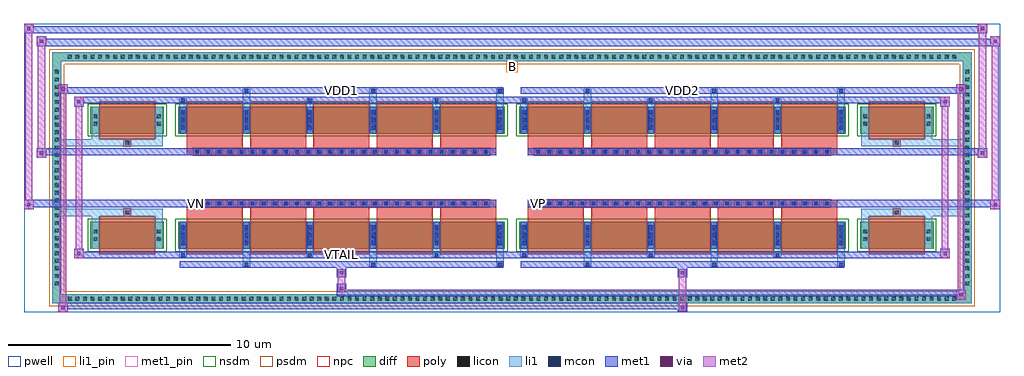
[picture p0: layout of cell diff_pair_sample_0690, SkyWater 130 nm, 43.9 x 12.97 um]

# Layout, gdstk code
import gdstk
lib = gdstk.Library(unit=1e-6, precision=5e-09)
def R(c, l, rs):  # rectangles x0, y0, x1, y1
    for r in rs: c.add(gdstk.rectangle(r[:2], r[2:], *l))
def A(c, l, x, y, w, h, nx, ny, dx, dy):  # array of equal rectangles
    R(c, l, [(x+i*dx, y+j*dy, x+i*dx+w, y+j*dy+h) for i in range(nx) for j in range(ny)])
def P(c, l, *ps):  # polygons
    for p in ps: c.add(gdstk.Polygon(p, *l))
pwell = (64, 44)
diff = (65, 20)
poly = (66, 20)
licon = (66, 44)
li1_pin = (67, 16)
li1 = (67, 20)
mcon = (67, 44)
met1_pin = (68, 16)
met1 = (68, 20)
via = (68, 44)
met2 = (69, 20)
nsdm = (93, 44)
psdm = (94, 20)
npc = (95, 20)

diff_pair_sample_0690 = lib.new_cell('diff_pair_sample_0690')
R(diff_pair_sample_0690, pwell, [(-21.95,-6.05,21.95,6.92), (-19.27,-4.24,-0.01,-0.8), (0.01,-4.24,19.27,-0.8), (-19.27,0.8,-0.01,4.24), (0.01,0.8,19.27,4.24)])
A(diff_pair_sample_0690, diff, -20.095, -5.65, 0.41, 0.41, 118, 2, 0.34, 10.89)
A(diff_pair_sample_0690, diff, -20.68, -4.965, 0.41, 0.41, 1, 29, 0, 0.34)
A(diff_pair_sample_0690, diff, 20.27, -4.965, 0.41, 0.41, 1, 29, 0, 0.34)
R(diff_pair_sample_0690, diff, [(-20.095,-5.65,20.095,-5.24), (-20.68,-4.965,-20.27,4.965), (20.27,-4.965,20.68,4.965), (-18.96,-3.195,-15.66,-1.985), (-15.02,-3.195,-0.32,-1.985), (0.32,-3.195,15.02,-1.985), (15.66,-3.195,18.96,-1.985), (-18.96,1.985,-15.66,3.195), (-15.02,1.985,-0.32,3.195), (0.32,1.985,15.02,3.195), (15.66,1.985,18.96,3.195), (-20.095,5.24,20.095,5.65)])
P(diff_pair_sample_0690, diff, [(20.68,5.65),(-20.68,5.65),(-20.68,-5.24),(-20.27,-5.24),(-20.27,5.24),(20.27,5.24),(20.27,-5.24),(-20.27,-5.24),(-20.68,-5.24),(-20.68,-5.65),(20.68,-5.65)])
A(diff_pair_sample_0690, poly, -14.63, -3.445, 2.52, 1.71, 5, 2, 2.85, 5.18)
A(diff_pair_sample_0690, poly, 0.71, -3.445, 2.52, 1.71, 5, 2, 2.85, 5.18)
A(diff_pair_sample_0690, poly, -14.63, -1.735, 2.52, 0.405, 5, 2, 2.85, 3.065)
A(diff_pair_sample_0690, poly, 0.71, -1.735, 2.52, 0.405, 5, 2, 2.85, 3.065)
A(diff_pair_sample_0690, poly, -14.335, -1.33, 0.33, 0.33, 27, 2, 0.5, 2.33)
A(diff_pair_sample_0690, poly, 1.005, -1.33, 0.33, 0.33, 27, 2, 0.5, 2.33)
R(diff_pair_sample_0690, poly, [(-18.57,-3.445,-16.05,-1.735), (16.05,-3.445,18.57,-1.735), (-17.475,-1.735,-17.145,-1.405), (-17.475,-1.735,-17.145,-1.405), (17.145,-1.735,17.475,-1.405), (17.145,-1.735,17.475,-1.405), (-14.63,-1.33,-0.71,-1), (0.71,-1.33,14.63,-1), (-14.63,1,-0.71,1.33), (0.71,1,14.63,1.33), (-17.475,1.405,-17.145,1.735), (-17.475,1.405,-17.145,1.735), (17.145,1.405,17.475,1.735), (17.145,1.405,17.475,1.735), (-18.57,1.735,-16.05,3.445), (16.05,1.735,18.57,3.445)])
A(diff_pair_sample_0690, licon, -19.975, -5.53, 0.17, 0.17, 118, 2, 0.34, 10.89)
A(diff_pair_sample_0690, licon, -20.56, -4.845, 0.17, 0.17, 1, 29, 0, 0.34)
A(diff_pair_sample_0690, licon, 20.39, -4.845, 0.17, 0.17, 1, 29, 0, 0.34)
A(diff_pair_sample_0690, licon, -14.88, -2.845, 0.17, 0.17, 6, 2, 2.85, 0.34)
A(diff_pair_sample_0690, licon, 0.46, -2.845, 0.17, 0.17, 6, 2, 2.85, 0.34)
A(diff_pair_sample_0690, licon, -14.255, -1.25, 0.17, 0.17, 27, 2, 0.5, 2.33)
A(diff_pair_sample_0690, licon, 1.085, -1.25, 0.17, 0.17, 27, 2, 0.5, 2.33)
A(diff_pair_sample_0690, licon, -14.88, 2.335, 0.17, 0.17, 6, 2, 2.85, 0.34)
A(diff_pair_sample_0690, licon, 0.46, 2.335, 0.17, 0.17, 6, 2, 2.85, 0.34)
R(diff_pair_sample_0690, licon, [(-18.82,-2.845,-18.65,-2.675), (-15.97,-2.845,-15.8,-2.675), (15.8,-2.845,15.97,-2.675), (18.65,-2.845,18.82,-2.675), (-18.82,-2.505,-18.65,-2.335), (-15.97,-2.505,-15.8,-2.335), (15.8,-2.505,15.97,-2.335), (18.65,-2.505,18.82,-2.335), (-17.395,-1.655,-17.225,-1.485), (17.225,-1.655,17.395,-1.485), (-17.395,1.485,-17.225,1.655), (17.225,1.485,17.395,1.655), (-18.82,2.335,-18.65,2.505), (-15.97,2.335,-15.8,2.505), (15.8,2.335,15.97,2.505), (18.65,2.335,18.82,2.505), (-18.82,2.675,-18.65,2.845), (-15.97,2.675,-15.8,2.845), (15.8,2.675,15.97,2.845), (18.65,2.675,18.82,2.845)])
R(diff_pair_sample_0690, li1_pin, [(-0.25,4.74,0.25,5.24)])
A(diff_pair_sample_0690, li1, -20.055, -5.61, 0.33, 0.33, 118, 2, 0.34, 10.89)
A(diff_pair_sample_0690, li1, -20.64, -4.925, 0.33, 0.33, 1, 29, 0, 0.34)
A(diff_pair_sample_0690, li1, 20.31, -4.925, 0.33, 0.33, 1, 29, 0, 0.34)
A(diff_pair_sample_0690, li1, -12.11, -4, 0.33, 0.805, 3, 2, 5.7, 7.195)
A(diff_pair_sample_0690, li1, -12.03, -4, 0.17, 0.17, 3, 2, 5.7, 7.83)
A(diff_pair_sample_0690, li1, 3.23, -4, 0.33, 0.805, 3, 2, 5.7, 7.195)
A(diff_pair_sample_0690, li1, 3.31, -4, 0.17, 0.17, 3, 2, 5.7, 7.83)
A(diff_pair_sample_0690, li1, -14.96, -3.57, 0.33, 0.375, 3, 2, 5.7, 6.765)
A(diff_pair_sample_0690, li1, -14.88, -3.57, 0.17, 0.17, 3, 2, 5.7, 6.97)
A(diff_pair_sample_0690, li1, 0.38, -3.57, 0.33, 0.375, 3, 2, 5.7, 6.765)
A(diff_pair_sample_0690, li1, 0.46, -3.57, 0.17, 0.17, 3, 2, 5.7, 6.97)
A(diff_pair_sample_0690, li1, -14.96, -3.195, 0.33, 1.21, 6, 2, 2.85, 5.18)
A(diff_pair_sample_0690, li1, 0.38, -3.195, 0.33, 1.21, 6, 2, 2.85, 5.18)
A(diff_pair_sample_0690, li1, -14.88, -3.035, 0.17, 0.17, 6, 3, 2.85, 0.36)
A(diff_pair_sample_0690, li1, -14.88, -3.035, 0.17, 0.89, 6, 2, 2.85, 5.18)
A(diff_pair_sample_0690, li1, 0.46, -3.035, 0.17, 0.17, 6, 3, 2.85, 0.36)
A(diff_pair_sample_0690, li1, 0.46, -3.035, 0.17, 0.89, 6, 2, 2.85, 5.18)
A(diff_pair_sample_0690, li1, -14.96, -2.925, 0.33, 0.33, 6, 2, 2.85, 0.34)
A(diff_pair_sample_0690, li1, 0.38, -2.925, 0.33, 0.33, 6, 2, 2.85, 0.34)
A(diff_pair_sample_0690, li1, -14.335, -1.33, 0.33, 0.33, 27, 2, 0.5, 2.33)
A(diff_pair_sample_0690, li1, 1.005, -1.33, 0.33, 0.33, 27, 2, 0.5, 2.33)
A(diff_pair_sample_0690, li1, -14.88, 2.145, 0.17, 0.17, 6, 3, 2.85, 0.36)
A(diff_pair_sample_0690, li1, 0.46, 2.145, 0.17, 0.17, 6, 3, 2.85, 0.36)
A(diff_pair_sample_0690, li1, -14.96, 2.255, 0.33, 0.33, 6, 2, 2.85, 0.34)
A(diff_pair_sample_0690, li1, 0.38, 2.255, 0.33, 0.33, 6, 2, 2.85, 0.34)
R(diff_pair_sample_0690, li1, [(-20.68,-5.65,-20.27,-5.24), (-20.68,-5.65,-20.27,-5.24), (-20.27,-5.65,20.27,-5.24), (20.27,-5.65,20.68,-5.24), (20.27,-5.65,20.68,-5.24), (-20.68,-5.24,-20.27,5.24), (20.27,-5.24,20.68,5.24), (-18.9,-3.195,-18.57,-1.985), (-16.05,-3.195,-15.72,-1.985), (15.72,-3.195,16.05,-1.985), (18.57,-3.195,18.9,-1.985), (-18.9,-2.925,-18.57,-2.595), (-16.05,-2.925,-15.72,-2.595), (15.72,-2.925,16.05,-2.595), (18.57,-2.925,18.9,-2.595), (-18.9,-2.585,-18.57,-2.255), (-16.05,-2.585,-15.72,-2.255), (15.72,-2.585,16.05,-2.255), (18.57,-2.585,18.9,-2.255), (-18.9,-1.985,-18.57,-1.405), (-16.05,-1.985,-15.72,-1.405), (15.72,-1.985,16.05,-1.405), (18.57,-1.985,18.9,-1.405), (-20.68,-1.735,-17.475,-1.405), (-18.9,-1.735,-17.475,-1.405), (-17.475,-1.735,-17.145,-1.405), (-17.145,-1.735,-15.72,-1.405), (15.72,-1.735,17.145,-1.405), (17.145,-1.735,17.475,-1.405), (17.145,-1.735,20.68,-1.405), (17.475,-1.735,18.9,-1.405), (-20.68,1.405,-17.475,1.735), (-18.9,1.405,-17.475,1.735), (-18.9,1.405,-18.57,1.985), (-17.475,1.405,-17.145,1.735), (-17.145,1.405,-15.72,1.735), (-16.05,1.405,-15.72,1.985), (15.72,1.405,17.145,1.735), (15.72,1.405,16.05,1.985), (17.145,1.405,17.475,1.735), (17.145,1.405,20.68,1.735), (17.475,1.405,18.9,1.735), (18.57,1.405,18.9,1.985), (-18.9,1.985,-18.57,3.195), (-16.05,1.985,-15.72,3.195), (15.72,1.985,16.05,3.195), (18.57,1.985,18.9,3.195), (-18.9,2.255,-18.57,2.585), (-16.05,2.255,-15.72,2.585), (15.72,2.255,16.05,2.585), (18.57,2.255,18.9,2.585), (-18.9,2.595,-18.57,2.925), (-16.05,2.595,-15.72,2.925), (15.72,2.595,16.05,2.925), (18.57,2.595,18.9,2.925), (-20.68,5.24,-20.27,5.65), (-20.68,5.24,-20.27,5.65), (-20.27,5.24,20.27,5.65), (20.27,5.24,20.68,5.65), (20.27,5.24,20.68,5.65)])
A(diff_pair_sample_0690, mcon, -12.03, -4, 0.17, 0.17, 3, 2, 5.7, 7.83)
A(diff_pair_sample_0690, mcon, 3.31, -4, 0.17, 0.17, 3, 2, 5.7, 7.83)
A(diff_pair_sample_0690, mcon, -14.88, -3.57, 0.17, 0.17, 3, 2, 5.7, 6.97)
A(diff_pair_sample_0690, mcon, 0.46, -3.57, 0.17, 0.17, 3, 2, 5.7, 6.97)
A(diff_pair_sample_0690, mcon, -14.88, -3.035, 0.17, 0.17, 6, 3, 2.85, 0.36)
A(diff_pair_sample_0690, mcon, 0.46, -3.035, 0.17, 0.17, 6, 3, 2.85, 0.36)
A(diff_pair_sample_0690, mcon, -14.255, -1.25, 0.17, 0.17, 27, 2, 0.5, 2.33)
A(diff_pair_sample_0690, mcon, 1.085, -1.25, 0.17, 0.17, 27, 2, 0.5, 2.33)
A(diff_pair_sample_0690, mcon, -14.88, 2.145, 0.17, 0.17, 6, 3, 2.85, 0.36)
A(diff_pair_sample_0690, mcon, 0.46, 2.145, 0.17, 0.17, 6, 3, 2.85, 0.36)
R(diff_pair_sample_0690, met1_pin, [(-7.805,-3.61,-7.535,-3.34), (-14.305,-1.29,-14.035,-1.02), (1.035,-1.29,1.305,-1.02), (-7.805,3.79,-7.535,4.06), (7.535,3.79,7.805,4.06)])
A(diff_pair_sample_0690, met1, -12.09, -4.06, 0.29, 0.29, 3, 2, 5.7, 7.83)
A(diff_pair_sample_0690, met1, 3.25, -4.06, 0.29, 0.29, 3, 2, 5.7, 7.83)
A(diff_pair_sample_0690, met1, -14.94, -3.63, 0.29, 0.29, 3, 2, 5.7, 6.97)
A(diff_pair_sample_0690, met1, 0.4, -3.63, 0.29, 0.29, 3, 2, 5.7, 6.97)
A(diff_pair_sample_0690, met1, -14.94, -3.195, 0.29, 1.21, 6, 2, 2.85, 5.18)
A(diff_pair_sample_0690, met1, 0.4, -3.195, 0.29, 1.21, 6, 2, 2.85, 5.18)
A(diff_pair_sample_0690, met1, -14.94, -3.095, 0.29, 0.29, 6, 3, 2.85, 0.36)
A(diff_pair_sample_0690, met1, 0.4, -3.095, 0.29, 0.29, 6, 3, 2.85, 0.36)
A(diff_pair_sample_0690, met1, -14.315, -1.31, 0.29, 0.29, 27, 2, 0.5, 2.33)
A(diff_pair_sample_0690, met1, 1.025, -1.31, 0.29, 0.29, 27, 2, 0.5, 2.33)
A(diff_pair_sample_0690, met1, -14.94, 2.085, 0.29, 0.29, 6, 3, 2.85, 0.36)
A(diff_pair_sample_0690, met1, 0.4, 2.085, 0.29, 0.29, 6, 3, 2.85, 0.36)
R(diff_pair_sample_0690, met1, [(-20.41,-6.05,-19.98,-5.62), (7.455,-6.05,7.885,-5.62), (-20.41,-5.91,7.885,-5.62), (19.98,-5.48,20.41,-5.05), (-7.885,-5.34,20.41,-5.05), (-7.885,-5.2,-7.455,-4.77), (-7.885,-4.49,-7.455,-4.06), (7.455,-4.49,7.885,-4.06), (-14.94,-4.06,-0.4,-3.77), (0.4,-4.06,14.94,-3.77), (-19.7,-3.63,-19.27,-3.2), (-19.7,-3.63,-14.94,-3.34), (-14.94,-3.63,-0.4,-3.34), (-0.4,-3.63,0.4,-3.34), (0.4,-3.63,14.94,-3.34), (14.94,-3.63,19.7,-3.34), (19.27,-3.63,19.7,-3.2), (-21.95,-1.43,-21.52,-1), (21.52,-1.43,21.95,-1), (-21.95,-1.33,-0.71,-1), (-14.63,-1.33,-0.71,-1), (0.71,-1.33,14.63,-1), (0.71,-1.33,21.95,-1), (-21.38,0.9,-20.95,1.33), (20.95,0.9,21.38,1.33), (-21.38,1,-14.63,1.33), (-14.63,1,-0.71,1.33), (0.71,1,14.63,1.33), (14.63,1,21.38,1.33), (-19.7,3.2,-19.27,3.63), (19.27,3.2,19.7,3.63), (-19.7,3.34,-14.94,3.63), (-14.94,3.34,-0.4,3.63), (-0.4,3.34,0.4,3.63), (0.4,3.34,14.94,3.63), (14.94,3.34,19.7,3.63), (-20.41,3.77,-19.98,4.2), (-20.41,3.77,-14.94,4.06), (-14.94,3.77,-0.4,4.06), (0.4,3.77,14.94,4.06), (14.94,3.77,20.41,4.06), (19.98,3.77,20.41,4.2), (-21.38,5.92,-20.95,6.35), (-21.38,5.92,-19.27,6.25), (-19.27,5.92,19.27,6.25), (19.27,5.92,21.95,6.25), (21.52,5.92,21.95,6.35), (-21.95,6.49,-21.52,6.92), (-21.95,6.49,-19.27,6.82), (-19.27,6.49,19.27,6.82), (19.27,6.49,21.38,6.82), (20.95,6.49,21.38,6.92)])
R(diff_pair_sample_0690, via, [(-20.27,-5.91,-20.12,-5.76), (7.595,-5.91,7.745,-5.76), (20.12,-5.34,20.27,-5.19), (-7.745,-5.06,-7.595,-4.91), (-7.745,-4.35,-7.595,-4.2), (7.595,-4.35,7.745,-4.2), (-19.56,-3.49,-19.41,-3.34), (19.41,-3.49,19.56,-3.34), (-21.81,-1.29,-21.66,-1.14), (21.66,-1.29,21.81,-1.14), (-21.24,1.04,-21.09,1.19), (21.09,1.04,21.24,1.19), (-19.56,3.34,-19.41,3.49), (19.41,3.34,19.56,3.49), (-20.27,3.91,-20.12,4.06), (20.12,3.91,20.27,4.06), (-21.24,6.06,-21.09,6.21), (21.66,6.06,21.81,6.21), (-21.81,6.63,-21.66,6.78), (21.09,6.63,21.24,6.78)])
R(diff_pair_sample_0690, met2, [(-20.41,-6.05,-19.98,-5.62), (-20.34,-6.05,-20.05,4.2), (-20.05,-6.05,-19.98,-5.62), (-20.36,-6,-20.03,-5.67), (7.505,-6,7.835,-5.67), (7.505,-5.67,7.835,-4.44), (19.98,-5.48,20.41,-5.05), (20.05,-5.48,20.34,4.2), (20.34,-5.48,20.41,-5.05), (20.03,-5.43,20.36,-5.1), (-7.835,-5.15,-7.505,-4.82), (-7.835,-4.82,-7.505,-4.44), (-7.835,-4.44,-7.505,-4.11), (7.505,-4.44,7.835,-4.11), (-19.7,-3.63,-19.27,-3.2), (-19.63,-3.63,-19.34,3.63), (-19.34,-3.63,-19.27,-3.2), (19.27,-3.63,19.7,-3.2), (19.34,-3.63,19.63,3.63), (19.63,-3.63,19.7,-3.2), (-19.65,-3.58,-19.32,-3.25), (19.32,-3.58,19.65,-3.25), (-21.95,-1.43,-21.52,-1), (-21.9,-1.43,-21.57,6.92), (-21.57,-1.43,-21.52,-1), (21.52,-1.43,21.95,-1), (21.57,-1.43,21.9,6.35), (21.9,-1.43,21.95,-1), (-21.9,-1.38,-21.57,-1.05), (21.57,-1.38,21.9,-1.05), (-21.38,0.9,-20.95,1.33), (-21.33,0.9,-21,6.35), (-21,0.9,-20.95,1.33), (20.95,0.9,21.38,1.33), (21,0.9,21.33,6.92), (21.33,0.9,21.38,1.33), (-21.33,0.95,-21,1.28), (21,0.95,21.33,1.28), (-19.7,3.2,-19.27,3.63), (-19.34,3.2,-19.27,3.63), (19.27,3.2,19.7,3.63), (19.63,3.2,19.7,3.63), (-19.65,3.25,-19.32,3.58), (19.32,3.25,19.65,3.58), (-20.41,3.77,-19.98,4.2), (-20.05,3.77,-19.98,4.2), (19.98,3.77,20.41,4.2), (20.34,3.77,20.41,4.2), (-20.36,3.82,-20.03,4.15), (20.03,3.82,20.36,4.15), (-21.38,5.92,-20.95,6.35), (-21,5.92,-20.95,6.35), (21.52,5.92,21.95,6.35), (21.9,5.92,21.95,6.35), (-21.33,5.97,-21,6.3), (21.57,5.97,21.9,6.3), (-21.95,6.49,-21.52,6.92), (-21.57,6.49,-21.52,6.92), (20.95,6.49,21.38,6.92), (21.33,6.49,21.38,6.92), (-21.9,6.54,-21.57,6.87), (21,6.54,21.33,6.87)])
R(diff_pair_sample_0690, nsdm, [(-19.09,-3.325,-15.53,-1.855), (-15.15,-3.325,-0.19,-1.855), (0.19,-3.325,15.15,-1.855), (15.53,-3.325,19.09,-1.855), (-19.09,1.855,-15.53,3.325), (-15.15,1.855,-0.19,3.325), (0.19,1.855,15.15,3.325), (15.53,1.855,19.09,3.325)])
P(diff_pair_sample_0690, psdm, [(20.81,5.78),(-20.81,5.78),(-20.81,-5.11),(-20.14,-5.11),(-20.14,5.11),(20.14,5.11),(20.14,-5.11),(-20.14,-5.11),(-20.81,-5.11),(-20.81,-5.78),(20.81,-5.78)])
A(diff_pair_sample_0690, npc, -14.355, -1.35, 0.37, 0.37, 27, 2, 0.5, 2.33)
A(diff_pair_sample_0690, npc, 0.985, -1.35, 0.37, 0.37, 27, 2, 0.5, 2.33)
R(diff_pair_sample_0690, npc, [(-17.495,-1.755,-17.125,-1.385), (17.125,-1.755,17.495,-1.385), (-14.355,-1.35,-13.485,-0.98), (-14.355,-1.35,-13.485,-0.98), (-13.855,-1.35,-12.985,-0.98), (-13.855,-1.35,-12.985,-0.98), (-13.355,-1.35,-12.485,-0.98), (-13.355,-1.35,-12.485,-0.98), (-12.855,-1.35,-11.985,-0.98), (-12.855,-1.35,-11.985,-0.98), (-12.355,-1.35,-11.485,-0.98), (-12.355,-1.35,-11.485,-0.98), (-11.855,-1.35,-10.985,-0.98), (-11.855,-1.35,-10.985,-0.98), (-11.355,-1.35,-10.485,-0.98), (-11.355,-1.35,-10.485,-0.98), (-10.855,-1.35,-9.985,-0.98), (-10.855,-1.35,-9.985,-0.98), (-10.355,-1.35,-9.485,-0.98), (-10.355,-1.35,-9.485,-0.98), (-9.855,-1.35,-8.985,-0.98), (-9.855,-1.35,-8.985,-0.98), (-9.355,-1.35,-8.485,-0.98), (-9.355,-1.35,-8.485,-0.98), (-8.855,-1.35,-7.985,-0.98), (-8.855,-1.35,-7.985,-0.98), (-8.355,-1.35,-7.485,-0.98), (-8.355,-1.35,-7.485,-0.98), (-7.855,-1.35,-6.985,-0.98), (-7.855,-1.35,-6.985,-0.98), (-7.355,-1.35,-6.485,-0.98), (-7.355,-1.35,-6.485,-0.98), (-6.855,-1.35,-5.985,-0.98), (-6.855,-1.35,-5.985,-0.98), (-6.355,-1.35,-5.485,-0.98), (-6.355,-1.35,-5.485,-0.98), (-5.855,-1.35,-4.985,-0.98), (-5.855,-1.35,-4.985,-0.98), (-5.355,-1.35,-4.485,-0.98), (-5.355,-1.35,-4.485,-0.98), (-4.855,-1.35,-3.985,-0.98), (-4.855,-1.35,-3.985,-0.98), (-4.355,-1.35,-3.485,-0.98), (-4.355,-1.35,-3.485,-0.98), (-3.855,-1.35,-2.985,-0.98), (-3.855,-1.35,-2.985,-0.98), (-3.355,-1.35,-2.485,-0.98), (-3.355,-1.35,-2.485,-0.98), (-2.855,-1.35,-1.985,-0.98), (-2.855,-1.35,-1.985,-0.98), (-2.355,-1.35,-1.485,-0.98), (-2.355,-1.35,-1.485,-0.98), (-1.855,-1.35,-0.985,-0.98), (-1.855,-1.35,-0.985,-0.98), (0.985,-1.35,1.855,-0.98), (0.985,-1.35,1.855,-0.98), (1.485,-1.35,2.355,-0.98), (1.485,-1.35,2.355,-0.98), (1.985,-1.35,2.855,-0.98), (1.985,-1.35,2.855,-0.98), (2.485,-1.35,3.355,-0.98), (2.485,-1.35,3.355,-0.98), (2.985,-1.35,3.855,-0.98), (2.985,-1.35,3.855,-0.98), (3.485,-1.35,4.355,-0.98), (3.485,-1.35,4.355,-0.98), (3.985,-1.35,4.855,-0.98), (3.985,-1.35,4.855,-0.98), (4.485,-1.35,5.355,-0.98), (4.485,-1.35,5.355,-0.98), (4.985,-1.35,5.855,-0.98), (4.985,-1.35,5.855,-0.98), (5.485,-1.35,6.355,-0.98), (5.485,-1.35,6.355,-0.98), (5.985,-1.35,6.855,-0.98), (5.985,-1.35,6.855,-0.98), (6.485,-1.35,7.355,-0.98), (6.485,-1.35,7.355,-0.98), (6.985,-1.35,7.855,-0.98), (6.985,-1.35,7.855,-0.98), (7.485,-1.35,8.355,-0.98), (7.485,-1.35,8.355,-0.98), (7.985,-1.35,8.855,-0.98), (7.985,-1.35,8.855,-0.98), (8.485,-1.35,9.355,-0.98), (8.485,-1.35,9.355,-0.98), (8.985,-1.35,9.855,-0.98), (8.985,-1.35,9.855,-0.98), (9.485,-1.35,10.355,-0.98), (9.485,-1.35,10.355,-0.98), (9.985,-1.35,10.855,-0.98), (9.985,-1.35,10.855,-0.98), (10.485,-1.35,11.355,-0.98), (10.485,-1.35,11.355,-0.98), (10.985,-1.35,11.855,-0.98), (10.985,-1.35,11.855,-0.98), (11.485,-1.35,12.355,-0.98), (11.485,-1.35,12.355,-0.98), (11.985,-1.35,12.855,-0.98), (11.985,-1.35,12.855,-0.98), (12.485,-1.35,13.355,-0.98), (12.485,-1.35,13.355,-0.98), (12.985,-1.35,13.855,-0.98), (12.985,-1.35,13.855,-0.98), (13.485,-1.35,14.355,-0.98), (13.485,-1.35,14.355,-0.98), (-14.355,0.98,-13.485,1.35), (-14.355,0.98,-13.485,1.35), (-13.855,0.98,-12.985,1.35), (-13.855,0.98,-12.985,1.35), (-13.355,0.98,-12.485,1.35), (-13.355,0.98,-12.485,1.35), (-12.855,0.98,-11.985,1.35), (-12.855,0.98,-11.985,1.35), (-12.355,0.98,-11.485,1.35), (-12.355,0.98,-11.485,1.35), (-11.855,0.98,-10.985,1.35), (-11.855,0.98,-10.985,1.35), (-11.355,0.98,-10.485,1.35), (-11.355,0.98,-10.485,1.35), (-10.855,0.98,-9.985,1.35), (-10.855,0.98,-9.985,1.35), (-10.355,0.98,-9.485,1.35), (-10.355,0.98,-9.485,1.35), (-9.855,0.98,-8.985,1.35), (-9.855,0.98,-8.985,1.35), (-9.355,0.98,-8.485,1.35), (-9.355,0.98,-8.485,1.35), (-8.855,0.98,-7.985,1.35), (-8.855,0.98,-7.985,1.35), (-8.355,0.98,-7.485,1.35), (-8.355,0.98,-7.485,1.35), (-7.855,0.98,-6.985,1.35), (-7.855,0.98,-6.985,1.35), (-7.355,0.98,-6.485,1.35), (-7.355,0.98,-6.485,1.35), (-6.855,0.98,-5.985,1.35), (-6.855,0.98,-5.985,1.35), (-6.355,0.98,-5.485,1.35), (-6.355,0.98,-5.485,1.35), (-5.855,0.98,-4.985,1.35), (-5.855,0.98,-4.985,1.35), (-5.355,0.98,-4.485,1.35), (-5.355,0.98,-4.485,1.35), (-4.855,0.98,-3.985,1.35), (-4.855,0.98,-3.985,1.35), (-4.355,0.98,-3.485,1.35), (-4.355,0.98,-3.485,1.35), (-3.855,0.98,-2.985,1.35), (-3.855,0.98,-2.985,1.35), (-3.355,0.98,-2.485,1.35), (-3.355,0.98,-2.485,1.35), (-2.855,0.98,-1.985,1.35), (-2.855,0.98,-1.985,1.35), (-2.355,0.98,-1.485,1.35), (-2.355,0.98,-1.485,1.35), (-1.855,0.98,-0.985,1.35), (-1.855,0.98,-0.985,1.35), (0.985,0.98,1.855,1.35), (0.985,0.98,1.855,1.35), (1.485,0.98,2.355,1.35), (1.485,0.98,2.355,1.35), (1.985,0.98,2.855,1.35), (1.985,0.98,2.855,1.35), (2.485,0.98,3.355,1.35), (2.485,0.98,3.355,1.35), (2.985,0.98,3.855,1.35), (2.985,0.98,3.855,1.35), (3.485,0.98,4.355,1.35), (3.485,0.98,4.355,1.35), (3.985,0.98,4.855,1.35), (3.985,0.98,4.855,1.35), (4.485,0.98,5.355,1.35), (4.485,0.98,5.355,1.35), (4.985,0.98,5.855,1.35), (4.985,0.98,5.855,1.35), (5.485,0.98,6.355,1.35), (5.485,0.98,6.355,1.35), (5.985,0.98,6.855,1.35), (5.985,0.98,6.855,1.35), (6.485,0.98,7.355,1.35), (6.485,0.98,7.355,1.35), (6.985,0.98,7.855,1.35), (6.985,0.98,7.855,1.35), (7.485,0.98,8.355,1.35), (7.485,0.98,8.355,1.35), (7.985,0.98,8.855,1.35), (7.985,0.98,8.855,1.35), (8.485,0.98,9.355,1.35), (8.485,0.98,9.355,1.35), (8.985,0.98,9.855,1.35), (8.985,0.98,9.855,1.35), (9.485,0.98,10.355,1.35), (9.485,0.98,10.355,1.35), (9.985,0.98,10.855,1.35), (9.985,0.98,10.855,1.35), (10.485,0.98,11.355,1.35), (10.485,0.98,11.355,1.35), (10.985,0.98,11.855,1.35), (10.985,0.98,11.855,1.35), (11.485,0.98,12.355,1.35), (11.485,0.98,12.355,1.35), (11.985,0.98,12.855,1.35), (11.985,0.98,12.855,1.35), (12.485,0.98,13.355,1.35), (12.485,0.98,13.355,1.35), (12.985,0.98,13.855,1.35), (12.985,0.98,13.855,1.35), (13.485,0.98,14.355,1.35), (13.485,0.98,14.355,1.35), (-17.495,1.385,-17.125,1.755), (17.125,1.385,17.495,1.755)])
diff_pair_sample_0690.add(gdstk.Label('VTAIL', (-7.67,-3.475), layer=68, texttype=5))
diff_pair_sample_0690.add(gdstk.Label('VN', (-14.17,-1.155), layer=68, texttype=5))
diff_pair_sample_0690.add(gdstk.Label('VP', (1.17,-1.155), layer=68, texttype=5))
diff_pair_sample_0690.add(gdstk.Label('B', (0,4.99), layer=67, texttype=5))
diff_pair_sample_0690.add(gdstk.Label('VDD2', (7.67,3.925), layer=68, texttype=5))
diff_pair_sample_0690.add(gdstk.Label('VDD1', (-7.67,3.925), layer=68, texttype=5))

lib.write_gds('diff_pair_sample_0690.gds')
